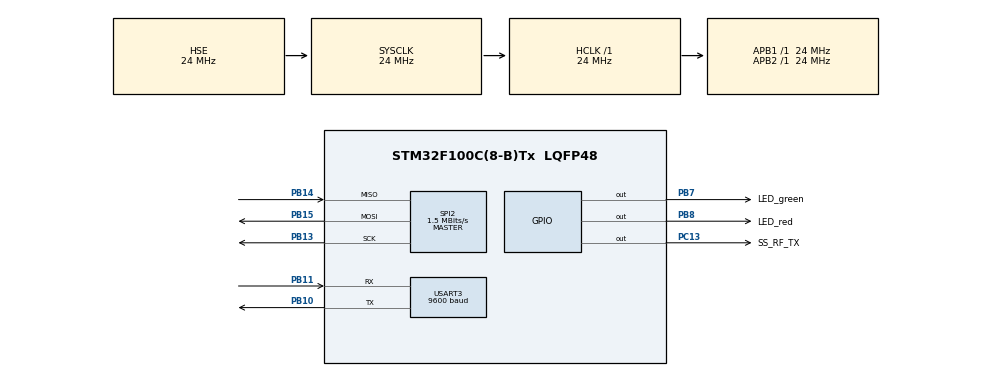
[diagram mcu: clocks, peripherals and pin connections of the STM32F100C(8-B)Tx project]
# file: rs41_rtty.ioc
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Mcu.Family=STM32F1
Mcu.Name=STM32F100C(8-B)Tx
Mcu.Package=LQFP48
NVIC.PriorityGroup=NVIC_PRIORITYGROUP_4
PB10.Mode=Asynchronous
PB10.Signal=USART3_TX
PB11.Mode=Asynchronous
PB11.Signal=USART3_RX
PB13.Mode=Full_Duplex_Master
PB13.Signal=SPI2_SCK
PB14.Mode=Full_Duplex_Master
PB14.Signal=SPI2_MISO
PB15.Mode=Full_Duplex_Master
PB15.Signal=SPI2_MOSI
PB7.GPIO_Label=LED_green
PB7.PinState=GPIO_PIN_SET
PB7.Signal=GPIO_Output
PB8.GPIO_Label=LED_red
PB8.PinState=GPIO_PIN_SET
PB8.Signal=GPIO_Output
PC13-TAMPER-RTC.GPIO_Label=SS_RF_TX
PC13-TAMPER-RTC.PinState=GPIO_PIN_SET
PC13-TAMPER-RTC.Signal=GPIO_Output
PD0-OSC_IN.Mode=HSE-External-Oscillator
PD0-OSC_IN.Signal=RCC_OSC_IN
PD1-OSC_OUT.Mode=HSE-External-Oscillator
PD1-OSC_OUT.Signal=RCC_OSC_OUT
ProjectManager.HeapSize=0x200
ProjectManager.StackSize=0x400
ProjectManager.TargetToolchain=MDK-ARM V5
RCC.AHBFreq_Value=24000000
RCC.APB1Freq_Value=24000000
RCC.APB1TimFreq_Value=24000000
RCC.APB2Freq_Value=24000000
RCC.APB2TimFreq_Value=24000000
RCC.HCLKFreq_Value=24000000
RCC.HSE_VALUE=24000000
RCC.SYSCLKFreq_VALUE=24000000
RCC.SYSCLKSource=RCC_SYSCLKSOURCE_HSE
SPI2.BaudRatePrescaler=SPI_BAUDRATEPRESCALER_16
SPI2.CalculateBaudRate=1.5 MBits/s
SPI2.DataSize=SPI_DATASIZE_16BIT
SPI2.Direction=SPI_DIRECTION_2LINES
SPI2.Mode=SPI_MODE_MASTER
SPI2.VirtualType=VM_MASTER
USART3.BaudRate=9600
USART3.VirtualMode=VM_ASYNC
VP_SYS_VS_ND.Mode=No_Debug
board=custom

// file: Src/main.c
/**
  ******************************************************************************
  * @file           : main.c
  * @brief          : Main program body
  ******************************************************************************
  ** This notice applies to any and all portions of this file
  * that are not between comment pairs USER CODE BEGIN and
  * USER CODE END. Other portions of this file, whether
  * inserted by the user or by software development tools
  * are owned by their respective copyright owners.
  *
  * COPYRIGHT(c) 2019 STMicroelectronics
  *
  * Redistribution and use in source and binary forms, with or without modification,
  * are permitted provided that the following conditions are met:
  *   1. Redistributions of source code must retain the above copyright notice,
  *      this list of conditions and the following disclaimer.
  *   2. Redistributions in binary form must reproduce the above copyright notice,
  *      this list of conditions and the following disclaimer in the documentation
  *      and/or other materials provided with the distribution.
  *   3. Neither the name of STMicroelectronics nor the names of its contributors
  *      may be used to endorse or promote products derived from this software
  *      without specific prior written permission.
  *
  * THIS SOFTWARE IS PROVIDED BY THE COPYRIGHT HOLDERS AND CONTRIBUTORS "AS IS"
  * AND ANY EXPRESS OR IMPLIED WARRANTIES, INCLUDING, BUT NOT LIMITED TO, THE
  * IMPLIED WARRANTIES OF MERCHANTABILITY AND FITNESS FOR A PARTICULAR PURPOSE ARE
  * DISCLAIMED. IN NO EVENT SHALL THE COPYRIGHT HOLDER OR CONTRIBUTORS BE LIABLE
  * FOR ANY DIRECT, INDIRECT, INCIDENTAL, SPECIAL, EXEMPLARY, OR CONSEQUENTIAL
  * DAMAGES (INCLUDING, BUT NOT LIMITED TO, PROCUREMENT OF SUBSTITUTE GOODS OR
  * SERVICES; LOSS OF USE, DATA, OR PROFITS; OR BUSINESS INTERRUPTION) HOWEVER
  * CAUSED AND ON ANY THEORY OF LIABILITY, WHETHER IN CONTRACT, STRICT LIABILITY,
  * OR TORT (INCLUDING NEGLIGENCE OR OTHERWISE) ARISING IN ANY WAY OUT OF THE USE
  * OF THIS SOFTWARE, EVEN IF ADVISED OF THE POSSIBILITY OF SUCH DAMAGE.
  *
  ******************************************************************************
  */
#include "main.h"
#include "stm32f1xx_hal.h"

/* USER CODE BEGIN Includes */
#include <string.h>

#define DIT dit();
#define DAH dah();
#define DIT_T 50
/* USER CODE END Includes */

SPI_HandleTypeDef hspi2;

UART_HandleTypeDef huart3;

/* USER CODE BEGIN PV */
/* Private variables ---------------------------------------------------------*/

/* USER CODE END PV */

void SystemClock_Config(void);
static void MX_GPIO_Init(void);
static void MX_USART3_UART_Init(void);
static void MX_SPI2_Init(void);

/* USER CODE BEGIN PFP */
/* Private function prototypes -----------------------------------------------*/
static void TX_BUS_Init(void);
void tx_letter(char zeichen);
void tx_string_morse(char const string[]);
void dit(void);
void dah(void);
/* USER CODE END PFP */

int main(void)
{
  /* USER CODE BEGIN 1 */
	char uart_message[20], tx_string[100];
	uint8_t spi2_data[15];
  /* USER CODE END 1 */

  /* MCU Configuration----------------------------------------------------------*/

  /* Reset of all peripherals, Initializes the Flash interface and the Systick. */
  HAL_Init();

  /* Configure the system clock */
  SystemClock_Config();

  /* Initialize all configured peripherals */
  MX_GPIO_Init();
  MX_USART3_UART_Init();
  MX_SPI2_Init();
  /* USER CODE BEGIN 2 */
	strcpy(uart_message, "\x0d\x0aHallo, ich bin eine Sonde.\x0d\x0a");
	HAL_UART_Transmit(&huart3, (uint8_t *) uart_message, strlen(uart_message), HAL_MAX_DELAY);
  /* USER CODE END 2 */

  /* Infinite loop */
  while (1)
  {
		HAL_GPIO_WritePin(GPIOB, LED_green_Pin, GPIO_PIN_RESET);
		HAL_GPIO_WritePin(GPIOB, LED_red_Pin, GPIO_PIN_SET);

		//Configure the transmitter (Si4032)
		HAL_GPIO_WritePin(GPIOC, SS_RF_TX_Pin, GPIO_PIN_RESET);

		//Write to the register with the adress 0x6E (Si4032 auto increments the register adress when reading or writing)
		spi2_data[0] = (0x6E | 0x80);

		//Set the data rate (26400 bits/s --> 12 Symbols for 2200Hz and 22 Symbols for 1200Hz)
		//Data to be written to 0x6E
		//High byte
		spi2_data[1] = 0xD8;
		//Data to be written to 0x6F
		//Low byte
		spi2_data[2] = 0x45;
		//Data to be written to 0x70
		//Data rate prescaler (txdtrtscale = 1)
		spi2_data[3] = 0x2C;

		//Set modulation type
		//Data to be written to 0x71 (bin 00010001, SDI --> modulation data in, modulation --> FSK)
		spi2_data[4] = 0x11;

		//Set frequnecy deviation (+/- 2500Hz)
		//Data to be written to 0x72
		spi2_data[5] = 0x01;

		//Set transmit frequnecy (432.470MHz)
		//Frequency offset (+37.8125kHz)
		//Data to be written to 0x73
		spi2_data[6] = 0x79;
		//Data to be written to 0x74
		spi2_data[7] = 0x00;
		//Band select
		//Data to be written to 0x75
		spi2_data[8] = 0x20;
		//Carrier Frequnecy
		//Data to be written to 0x76
		//High Byte
		spi2_data[9] = 0xED;
		//Data to be written to 0x77
		//Low Byte
		spi2_data[10] = 0x10;

		HAL_SPI_Transmit(&hspi2, spi2_data, 11, HAL_MAX_DELAY);
		HAL_Delay(10);
		HAL_GPIO_WritePin(GPIOC, SS_RF_TX_Pin, GPIO_PIN_SET);

		HAL_Delay(1);

		//The Crystal Oscillator Load Capacitance should be set to
		//0 since an external TCXO is used.
		HAL_GPIO_WritePin(GPIOC, SS_RF_TX_Pin, GPIO_PIN_RESET);
		//Write to the register 0x09
		spi2_data[0] = (0x09 | 0x80);
		spi2_data[1] = 0x00;
		HAL_SPI_Transmit(&hspi2, spi2_data, 2, HAL_MAX_DELAY);
		HAL_Delay(1);
		HAL_GPIO_WritePin(GPIOC, SS_RF_TX_Pin, GPIO_PIN_SET);

		//TX
		HAL_GPIO_WritePin(GPIOC, SS_RF_TX_Pin, GPIO_PIN_RESET);
		//Write to the register 0x07
		spi2_data[0] = (0x07 | 0x80);
		spi2_data[1] = 0x09;
		HAL_SPI_Transmit(&hspi2, spi2_data, 2, HAL_MAX_DELAY);
		HAL_Delay(1);

		//Deinit SPI2
		HAL_SPI_DeInit(&hspi2);
		//Init the SPI2 Pins as standart Input/Output
		TX_BUS_Init();

		HAL_GPIO_WritePin(GPIOC, SS_RF_TX_Pin, GPIO_PIN_SET);

		while(1)
		{
		tx_string_morse("oe3tec testing my wx station");
		HAL_GPIO_WritePin(GPIOB, GPIO_PIN_15, GPIO_PIN_RESET);
		HAL_Delay(1000);
		}

  }

}

void SystemClock_Config(void)
{

  RCC_OscInitTypeDef RCC_OscInitStruct;
  RCC_ClkInitTypeDef RCC_ClkInitStruct;

    /**Initializes the CPU, AHB and APB busses clocks
    */
  RCC_OscInitStruct.OscillatorType = RCC_OSCILLATORTYPE_HSE;
  RCC_OscInitStruct.HSEState = RCC_HSE_ON;
  RCC_OscInitStruct.PLL.PLLState = RCC_PLL_NONE;
  if (HAL_RCC_OscConfig(&RCC_OscInitStruct) != HAL_OK)
  {
    _Error_Handler(__FILE__, __LINE__);
  }

    /**Initializes the CPU, AHB and APB busses clocks
    */
  RCC_ClkInitStruct.ClockType = RCC_CLOCKTYPE_HCLK|RCC_CLOCKTYPE_SYSCLK
                              |RCC_CLOCKTYPE_PCLK1|RCC_CLOCKTYPE_PCLK2;
  RCC_ClkInitStruct.SYSCLKSource = RCC_SYSCLKSOURCE_HSE;
  RCC_ClkInitStruct.AHBCLKDivider = RCC_SYSCLK_DIV1;
  RCC_ClkInitStruct.APB1CLKDivider = RCC_HCLK_DIV1;
  RCC_ClkInitStruct.APB2CLKDivider = RCC_HCLK_DIV1;

  if (HAL_RCC_ClockConfig(&RCC_ClkInitStruct, FLASH_LATENCY_0) != HAL_OK)
  {
    _Error_Handler(__FILE__, __LINE__);
  }

    /**Configure the Systick interrupt time
    */
  HAL_SYSTICK_Config(HAL_RCC_GetHCLKFreq()/1000);

    /**Configure the Systick
    */
  HAL_SYSTICK_CLKSourceConfig(SYSTICK_CLKSOURCE_HCLK);

  /* SysTick_IRQn interrupt configuration */
  HAL_NVIC_SetPriority(SysTick_IRQn, 0, 0);
}

/* SPI2 init function */
static void MX_SPI2_Init(void)
{

  /* SPI2 parameter configuration*/
  hspi2.Instance = SPI2;
  hspi2.Init.Mode = SPI_MODE_MASTER;
  hspi2.Init.Direction = SPI_DIRECTION_2LINES;
  hspi2.Init.DataSize = SPI_DATASIZE_8BIT;
  hspi2.Init.CLKPolarity = SPI_POLARITY_LOW;
  hspi2.Init.CLKPhase = SPI_PHASE_1EDGE;
  hspi2.Init.NSS = SPI_NSS_SOFT;
  hspi2.Init.BaudRatePrescaler = SPI_BAUDRATEPRESCALER_16;
  hspi2.Init.FirstBit = SPI_FIRSTBIT_MSB;
  hspi2.Init.TIMode = SPI_TIMODE_DISABLE;
  hspi2.Init.CRCCalculation = SPI_CRCCALCULATION_DISABLE;
  hspi2.Init.CRCPolynomial = 10;
  if (HAL_SPI_Init(&hspi2) != HAL_OK)
  {
    _Error_Handler(__FILE__, __LINE__);
  }

}

/* USART3 init function */
static void MX_USART3_UART_Init(void)
{

  huart3.Instance = USART3;
  huart3.Init.BaudRate = 9600;
  huart3.Init.WordLength = UART_WORDLENGTH_8B;
  huart3.Init.StopBits = UART_STOPBITS_1;
  huart3.Init.Parity = UART_PARITY_NONE;
  huart3.Init.Mode = UART_MODE_TX_RX;
  huart3.Init.HwFlowCtl = UART_HWCONTROL_NONE;
  huart3.Init.OverSampling = UART_OVERSAMPLING_16;
  if (HAL_UART_Init(&huart3) != HAL_OK)
  {
    _Error_Handler(__FILE__, __LINE__);
  }

}

/** Configure pins as
        * Analog
        * Input
        * Output
        * EVENT_OUT
        * EXTI
*/
static void MX_GPIO_Init(void)
{

  GPIO_InitTypeDef GPIO_InitStruct;

  /* GPIO Ports Clock Enable */
  __HAL_RCC_GPIOC_CLK_ENABLE();
  __HAL_RCC_GPIOD_CLK_ENABLE();
  __HAL_RCC_GPIOB_CLK_ENABLE();

  /*Configure GPIO pin Output Level */
  HAL_GPIO_WritePin(SS_RF_TX_GPIO_Port, SS_RF_TX_Pin, GPIO_PIN_RESET);

  /*Configure GPIO pin Output Level */
  HAL_GPIO_WritePin(GPIOB, LED_green_Pin|LED_red_Pin, GPIO_PIN_SET);

  /*Configure GPIO pin : SS_RF_TX_Pin */
  GPIO_InitStruct.Pin = SS_RF_TX_Pin;
  GPIO_InitStruct.Mode = GPIO_MODE_OUTPUT_PP;
  GPIO_InitStruct.Pull = GPIO_NOPULL;
  GPIO_InitStruct.Speed = GPIO_SPEED_FREQ_LOW;
  HAL_GPIO_Init(SS_RF_TX_GPIO_Port, &GPIO_InitStruct);

  /*Configure GPIO pins : LED_green_Pin LED_red_Pin */
  GPIO_InitStruct.Pin = LED_green_Pin|LED_red_Pin;
  GPIO_InitStruct.Mode = GPIO_MODE_OUTPUT_PP;
  GPIO_InitStruct.Pull = GPIO_NOPULL;
  GPIO_InitStruct.Speed = GPIO_SPEED_FREQ_LOW;
  HAL_GPIO_Init(GPIOB, &GPIO_InitStruct);

}

/* USER CODE BEGIN 4 */
//Configures the SPI2 Pins as standard Input/Output for direct modulation
//HAL_SPI_DeInit() should be called before calling this function
static void TX_BUS_Init(void)
{
	GPIO_InitTypeDef GPIO_Init_Struct;

	/*Configure MOSI pin Output Level */
  HAL_GPIO_WritePin(GPIOB, GPIO_PIN_15, GPIO_PIN_RESET);

	/*Configure MOSI pin : GPIO_PIN_15 */
	GPIO_Init_Struct.Pin = GPIO_PIN_15;
	GPIO_Init_Struct.Mode = GPIO_MODE_OUTPUT_PP;
	GPIO_Init_Struct.Pull = GPIO_NOPULL;
	GPIO_Init_Struct.Speed = GPIO_SPEED_FREQ_HIGH;
	HAL_GPIO_Init(GPIOB, &GPIO_Init_Struct);

	/*Configure MISO pin : GPIO_PIN_14 */
	GPIO_Init_Struct.Pin = GPIO_PIN_14;
	GPIO_Init_Struct.Mode = GPIO_MODE_INPUT;
	GPIO_Init_Struct.Pull = GPIO_NOPULL;
	GPIO_Init_Struct.Speed = GPIO_SPEED_FREQ_HIGH;
	HAL_GPIO_Init(GPIOB, &GPIO_Init_Struct);

}
void tx_letter(char zeichen)
{
	switch(zeichen) {
		case 'a': DIT DAH break;
		case 'b': DAH DIT DIT break;
		case 'c': DAH DIT DAH DIT break;
		case 'd': DAH DIT DIT break;
		case 'e': DIT break;
		case 'f': DIT DIT DAH DIT break;
		case 'g': DAH DAH DIT break;
		case 'h': DIT DIT DIT DIT break;
		case 'i': DIT DIT break;
		case 'j': DIT DAH DAH DAH break;
		case 'k': DAH DIT DAH break;
		case 'l': DIT DAH DIT DIT break;
		case 'm': DAH DAH break;
		case 'n': DAH DIT break;
		case 'o': DAH DAH DAH break;
		case 'p': DIT DAH DAH DIT break;
		case 'q': DAH DAH DIT DAH break;
		case 'r': DIT DAH DIT break;
		case 's': DIT DIT DIT break;
		case 't': DAH break;
		case 'u': DIT DIT DAH break;
		case 'v': DIT DIT DAH break;
		case 'w': DIT DAH DAH break;
		case 'x': DAH DIT DIT DAH break;
		case 'y': DAH DIT DAH DAH break;
		case 'z': DAH DAH DIT DIT break;

		case '1': DIT DAH DAH DAH DAH break;
		case '2': DIT DIT DAH DAH DAH break;
		case '3': DIT DIT DIT DAH DAH break;
		case '4': DIT DIT DIT DIT DAH break;
		case '5': DIT DIT DIT DIT DIT break;
		case '6': DAH DIT DIT DIT DIT break;
		case '7': DAH DAH DIT DIT DIT break;
		case '8': DAH DAH DAH DIT DIT break;
		case '9': DAH DAH DAH DAH DIT break;
		case '0': DAH DAH DAH DAH DAH break;

		case ' ': HAL_Delay(DIT_T*6); break;
	}
}
void tx_string_morse(char const string[])
{
	int i=0;

	while(string[i] != 0x00)
	{
		tx_letter(string[i]);
		HAL_Delay(DIT_T*2);
		i++;
	}
}
void dit(void)
{
	//Red LED is on when the transmitter is on
	//TX on
	HAL_GPIO_WritePin(GPIOB, GPIO_PIN_15, GPIO_PIN_SET);
	HAL_GPIO_WritePin(GPIOB, LED_red_Pin, GPIO_PIN_RESET);
	HAL_Delay(DIT_T);
	//Tx off
	HAL_GPIO_WritePin(GPIOB, GPIO_PIN_15, GPIO_PIN_RESET);
	HAL_GPIO_WritePin(GPIOB, LED_red_Pin, GPIO_PIN_SET);
	HAL_Delay(DIT_T);
}
void dah(void)
{
	//Red LED is on when the transmitter is on
	//TX on
	HAL_GPIO_WritePin(GPIOB, GPIO_PIN_15, GPIO_PIN_SET);
	HAL_GPIO_WritePin(GPIOB, LED_red_Pin, GPIO_PIN_RESET);
	HAL_Delay(DIT_T*3);
	//TX off
	HAL_GPIO_WritePin(GPIOB, GPIO_PIN_15, GPIO_PIN_RESET);
	HAL_GPIO_WritePin(GPIOB, LED_red_Pin, GPIO_PIN_SET);
	HAL_Delay(DIT_T);
}
/* USER CODE END 4 */

void _Error_Handler(char *file, int line)
{
  while(1)
  {
  }
}

/************************ (C) COPYRIGHT STMicroelectronics *****END OF FILE****/
